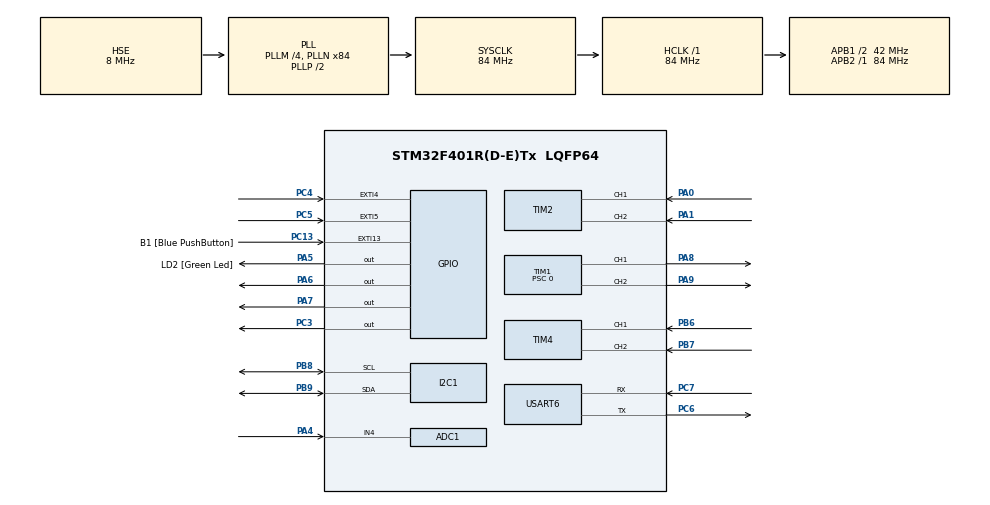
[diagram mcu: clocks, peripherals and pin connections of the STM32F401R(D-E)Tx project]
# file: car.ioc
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ADC1.Channel-4\#ChannelRegularConversion=ADC_CHANNEL_4
ADC1.NbrOfConversion=1
ADC1.NbrOfConversionFlag=1
ADC1.Rank-4\#ChannelRegularConversion=1
ADC1.SamplingTime-4\#ChannelRegularConversion=ADC_SAMPLETIME_15CYCLES
ADC1.master=1
Dma.I2C1_TX.0.Direction=DMA_MEMORY_TO_PERIPH
Dma.I2C1_TX.0.FIFOMode=DMA_FIFOMODE_DISABLE
Dma.I2C1_TX.0.Instance=DMA1_Stream6
Dma.I2C1_TX.0.MemDataAlignment=DMA_MDATAALIGN_BYTE
Dma.I2C1_TX.0.MemInc=DMA_MINC_ENABLE
Dma.I2C1_TX.0.Mode=DMA_NORMAL
Dma.I2C1_TX.0.PeriphDataAlignment=DMA_PDATAALIGN_BYTE
Dma.I2C1_TX.0.PeriphInc=DMA_PINC_DISABLE
Dma.I2C1_TX.0.Priority=DMA_PRIORITY_LOW
Dma.Request0=I2C1_TX
FREERTOS.Tasks01=defaultTask,24,512,StartDefaultTask,Default,NULL,Dynamic,NULL,NULL;myTaskOled,24,512,StartTaskOled,Default,NULL,Dynamic,NULL,NULL;myTaskCtrl,32,1500,StartTaskCtrl,Default,NULL,Dynamic,NULL,NULL
FREERTOS.configUSE_NEWLIB_REENTRANT=1
I2C1.I2C_Mode=I2C_Fast
Mcu.Family=STM32F4
Mcu.Name=STM32F401R(D-E)Tx
Mcu.Package=LQFP64
NVIC.ADC_IRQn=true\:5\:0\:false\:false\:true\:true\:true\:true\:true
NVIC.DMA1_Stream6_IRQn=true\:5\:0\:false\:false\:true\:true\:false\:true\:true
NVIC.EXTI4_IRQn=true\:5\:0\:false\:false\:true\:true\:true\:true\:true
NVIC.EXTI9_5_IRQn=true\:5\:0\:false\:false\:true\:true\:true\:true\:true
NVIC.I2C1_EV_IRQn=true\:5\:0\:false\:false\:true\:true\:true\:true\:true
NVIC.PriorityGroup=NVIC_PRIORITYGROUP_4
NVIC.TIM1_TRG_COM_TIM11_IRQn=true\:5\:0\:false\:false\:true\:false\:false\:true\:true
NVIC.TIM1_UP_TIM10_IRQn=true\:15\:0\:false\:false\:true\:false\:false\:true\:true
NVIC.TimeBase=TIM1_UP_TIM10_IRQn
NVIC.TimeBaseIP=TIM10
NVIC.USART6_IRQn=true\:5\:0\:false\:false\:true\:true\:true\:true\:true
PA0-WKUP.Signal=S_TIM2_CH1_ETR
PA1.Signal=S_TIM2_CH2
PA13.Mode=Trace_Asynchronous_SW
PA13.Signal=SYS_JTMS-SWDIO
PA14.Mode=Trace_Asynchronous_SW
PA14.Signal=SYS_JTCK-SWCLK
PA4.Signal=ADCx_IN4
PA5.GPIO_Label=LD2 [Green Led]
PA5.GPIO_Mode=GPIO_MODE_OUTPUT_PP
PA5.GPIO_PuPd=GPIO_NOPULL
PA5.GPIO_Speed=GPIO_SPEED_FREQ_LOW
PA5.Signal=GPIO_Output
PA6.GPIO_ModeDefaultOutputPP=GPIO_MODE_OUTPUT_OD
PA6.GPIO_PuPd=GPIO_PULLUP
PA6.Signal=GPIO_Output
PA7.GPIO_ModeDefaultOutputPP=GPIO_MODE_OUTPUT_OD
PA7.GPIO_PuPd=GPIO_PULLUP
PA7.Signal=GPIO_Output
PA8.Signal=S_TIM1_CH1
PA9.Signal=S_TIM1_CH2
PB13.Signal=TIM1_CH1N
PB14.Signal=TIM1_CH2N
PB3.Mode=Trace_Asynchronous_SW
PB3.Signal=SYS_JTDO-SWO
PB6.Signal=S_TIM4_CH1
PB7.Signal=S_TIM4_CH2
PB8.Mode=I2C
PB8.Signal=I2C1_SCL
PB9.Mode=I2C
PB9.Signal=I2C1_SDA
PC13-ANTI_TAMP.GPIO_Label=B1 [Blue PushButton]
PC13-ANTI_TAMP.GPIO_ModeDefaultEXTI=GPIO_MODE_IT_FALLING
PC13-ANTI_TAMP.GPIO_PuPd=GPIO_NOPULL
PC13-ANTI_TAMP.Signal=GPXTI13
PC14-OSC32_IN.Mode=LSE-External-Oscillator
PC14-OSC32_IN.Signal=RCC_OSC32_IN
PC15-OSC32_OUT.Mode=LSE-External-Oscillator
PC15-OSC32_OUT.Signal=RCC_OSC32_OUT
PC3.GPIO_PuPd=GPIO_PULLUP
PC3.Signal=GPIO_Output
PC4.GPIO_ModeDefaultEXTI=GPIO_MODE_IT_RISING_FALLING
PC4.GPIO_PuPd=GPIO_PULLUP
PC4.Signal=GPXTI4
PC5.GPIO_ModeDefaultEXTI=GPIO_MODE_IT_FALLING
PC5.Signal=GPXTI5
PC6.Mode=Asynchronous
PC6.Signal=USART6_TX
PC7.Mode=Asynchronous
PC7.Signal=USART6_RX
PH0\ -\ OSC_IN.Mode=HSE-External-Oscillator
PH0\ -\ OSC_IN.Signal=RCC_OSC_IN
PH1\ -\ OSC_OUT.Mode=HSE-External-Oscillator
PH1\ -\ OSC_OUT.Signal=RCC_OSC_OUT
ProjectManager.HeapSize=0x200
ProjectManager.StackSize=0x400
ProjectManager.TargetToolchain=STM32CubeIDE
RCC.48MHZClocksFreq_Value=42000000
RCC.AHBFreq_Value=84000000
RCC.APB1CLKDivider=RCC_HCLK_DIV2
RCC.APB1Freq_Value=42000000
RCC.APB1TimFreq_Value=84000000
RCC.APB2Freq_Value=84000000
RCC.APB2TimFreq_Value=84000000
RCC.CortexFreq_Value=84000000
RCC.HCLKFreq_Value=84000000
RCC.HSE_VALUE=8000000
RCC.HSI_VALUE=16000000
RCC.PLLM=4
RCC.PLLN=84
RCC.PLLSourceVirtual=RCC_PLLSOURCE_HSE
RCC.SYSCLKFreq_VALUE=84000000
RCC.SYSCLKSource=RCC_SYSCLKSOURCE_PLLCLK
RCC.VCOOutputFreq_Value=168000000
SH.ADCx_IN4.0=ADC1_IN4,IN4
SH.S_TIM1_CH1.0=TIM1_CH1,PWM Generation1 CH1
SH.S_TIM1_CH2.0=TIM1_CH2,PWM Generation2 CH2
SH.S_TIM2_CH1_ETR.0=TIM2_CH1,Encoder_Interface
SH.S_TIM2_CH2.0=TIM2_CH2,Encoder_Interface
SH.S_TIM4_CH1.0=TIM4_CH1,Encoder_Interface
SH.S_TIM4_CH2.0=TIM4_CH2,Encoder_Interface
TIM1.Channel-PWM\ Generation1\ CH1=TIM_CHANNEL_1
TIM1.Channel-PWM\ Generation2\ CH2=TIM_CHANNEL_2
TIM1.Period=8399
TIM1.Prescaler=0
TIM2.EncoderMode=TIM_ENCODERMODE_TI1
TIM3.Prescaler=83
TIM4.EncoderMode=TIM_ENCODERMODE_TI1
TIM5.Prescaler=83
USART6.VirtualMode=VM_ASYNC
VP_FREERTOS_VS_CMSIS_V2.Mode=CMSIS_V2
VP_SYS_VS_tim10.Mode=TIM10
VP_TIM3_VS_ClockSourceINT.Mode=Internal
VP_TIM5_VS_ClockSourceINT.Mode=Internal
VP_TIM9_VS_ClockSourceINT.Mode=Internal
board=NUCLEO-F401RE

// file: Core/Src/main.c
/* USER CODE BEGIN Header */
/**
  ******************************************************************************
  * @file           : main.c
  * @brief          : Main program body
  ******************************************************************************
  * @attention
  *
  * Copyright (c) 2025 STMicroelectronics.
  * All rights reserved.
  *
  * This software is licensed under terms that can be found in the LICENSE file
  * in the root directory of this software component.
  * If no LICENSE file comes with this software, it is provided AS-IS.
  *
  ******************************************************************************
  */
/* USER CODE END Header */
#include "main.h"
#include "cmsis_os.h"
#include "adc.h"
#include "dma.h"
#include "i2c.h"
#include "tim.h"
#include "usart.h"
#include "gpio.h"

/* USER CODE BEGIN Includes */
#include "stdio.h"
#include "oled.h"
#include "motor.h"
#include "encoder.h"
#include "pid.h"
#include "inv_mpu.h"
#include "inv_mpu_dmp_motion_driver.h"

/* USER CODE END Includes */

/* USER CODE BEGIN PV */

int motor_en = 1;		//电机使能
int stop_key = 0;

//pid参数
float Vertical_Kp= 740,Vertical_Kd =5 ;
float Velocity_Kp = -3,Velocity_Ki;
float Turn_Kp = 10,Turn_Kd = -4;

extern uint8_t refresh_flag;
extern uint8_t show_mem[OLED_WIDE][OLED_LENGTH];
extern uint8_t display_buf[30];

extern float distance;

extern uint8_t rx_buf[2];

/* USER CODE END PV */

void SystemClock_Config(void);
void MX_FREERTOS_Init(void);

/* USER CODE BEGIN 0 */

int __io_putchar(int ch)
{
ITM_SendChar(ch);
return(ch);
}

int _write(int file, char *ptr, int len)
{
int DataIdx;
for (DataIdx = 0; DataIdx < len; DataIdx++){ __io_putchar( *ptr++ );}
return len;
}

void HAL_I2C_MemTxCpltCallback(I2C_HandleTypeDef *hi2c)
{
	uint8_t i,j;
	for(i = 0; i < OLED_WIDE; i++)
	{
		for(j = 0; j < OLED_LENGTH; j++)
		{
			show_mem[i][j] = 0;
		}
	}
	refresh_flag = 0;
}

//微妙延时
void delay_us(uint32_t us) {
    __HAL_TIM_SET_COUNTER(&htim5, 0);
    __HAL_TIM_ENABLE(&htim5);
    while (__HAL_TIM_GET_COUNTER(&htim5) < us);

    __HAL_TIM_DISABLE(&htim5);
}

uint16_t count;	//定时器计数
float distance; //超声波测距距离

void HAL_GPIO_EXTI_Callback(uint16_t GPIO_Pin)
{

	if(GPIO_Pin==GPIO_PIN_4)
		{
			if(HAL_GPIO_ReadPin(GPIOC,GPIO_PIN_4)==GPIO_PIN_SET)
			{
				__HAL_TIM_SetCounter(&htim3,0);
				HAL_TIM_Base_Start(&htim3);
			}
			else
			{
				HAL_TIM_Base_Stop(&htim3);
				count=__HAL_TIM_GetCounter(&htim3);
				distance=count*0.017;
			}
			__HAL_GPIO_EXTI_CLEAR_IT(GPIO_PIN_4);
		}

	if(GPIO_Pin==GPIO_PIN_5)
	{
		if(HAL_GPIO_ReadPin(GPIOC,GPIO_PIN_5)==GPIO_PIN_RESET)
		{
			stop_key ^= 1;		//急停按键标志位取反
		}
		 __HAL_GPIO_EXTI_CLEAR_IT(GPIO_PIN_5);
	}
}

int res;

/* USER CODE END 0 */

int main(void)
{

  /* MCU Configuration--------------------------------------------------------*/

  /* Reset of all peripherals, Initializes the Flash interface and the Systick. */
  HAL_Init();

  /* Configure the system clock */
  SystemClock_Config();

  /* Initialize all configured peripherals */
  MX_GPIO_Init();
  MX_DMA_Init();
  MX_USART6_UART_Init();
  MX_I2C1_Init();
  MX_TIM1_Init();
  MX_TIM2_Init();
  MX_TIM4_Init();
  MX_TIM3_Init();
  MX_ADC1_Init();
  MX_TIM9_Init();
  MX_TIM5_Init();
  /* USER CODE BEGIN 2 */
  Load(0, 0);

  /* 初始化OLED显示屏 */
  OLED_Init();
  /* 初始化MPU6500惯性测量单元 */
  MPU_Init();
  /* 初始化MPU6500的数字运动处理器(DMP)，并获取初始化结果 */
  res = mpu_dmp_init();

  /* 清屏OLED显示 */
  OLED_Clear();

  /* 启动TIM2的编码器模式，使用所有通道（通常为CH1和CH2） */
  HAL_TIM_Encoder_Start(&htim2, TIM_CHANNEL_ALL);
  /* 启动TIM4的编码器模式，使用所有通道 */
  HAL_TIM_Encoder_Start(&htim4, TIM_CHANNEL_ALL);
  /* 启动UART6的中断接收模式，每次接收1字节数据到rx_buf缓冲区 */
  HAL_UART_Receive_IT(&huart6, rx_buf, 1);

  /* USER CODE END 2 */

  /* Init scheduler */
  osKernelInitialize();

  /* Call init function for freertos objects (in cmsis_os2.c) */
  MX_FREERTOS_Init();

  /* Start scheduler */
  osKernelStart();

  /* We should never get here as control is now taken by the scheduler */

  /* Infinite loop */
  while (1)
  {

  }
}

void SystemClock_Config(void)
{
  RCC_OscInitTypeDef RCC_OscInitStruct = {0};
  RCC_ClkInitTypeDef RCC_ClkInitStruct = {0};

  /** Configure the main internal regulator output voltage
  */
  __HAL_RCC_PWR_CLK_ENABLE();
  __HAL_PWR_VOLTAGESCALING_CONFIG(PWR_REGULATOR_VOLTAGE_SCALE2);

  /** Initializes the RCC Oscillators according to the specified parameters
  * in the RCC_OscInitTypeDef structure.
  */
  RCC_OscInitStruct.OscillatorType = RCC_OSCILLATORTYPE_HSE;
  RCC_OscInitStruct.HSEState = RCC_HSE_ON;
  RCC_OscInitStruct.PLL.PLLState = RCC_PLL_ON;
  RCC_OscInitStruct.PLL.PLLSource = RCC_PLLSOURCE_HSE;
  RCC_OscInitStruct.PLL.PLLM = 4;
  RCC_OscInitStruct.PLL.PLLN = 84;
  RCC_OscInitStruct.PLL.PLLP = RCC_PLLP_DIV2;
  RCC_OscInitStruct.PLL.PLLQ = 4;
  if (HAL_RCC_OscConfig(&RCC_OscInitStruct) != HAL_OK)
  {
    Error_Handler();
  }

  /** Initializes the CPU, AHB and APB buses clocks
  */
  RCC_ClkInitStruct.ClockType = RCC_CLOCKTYPE_HCLK|RCC_CLOCKTYPE_SYSCLK
                              |RCC_CLOCKTYPE_PCLK1|RCC_CLOCKTYPE_PCLK2;
  RCC_ClkInitStruct.SYSCLKSource = RCC_SYSCLKSOURCE_PLLCLK;
  RCC_ClkInitStruct.AHBCLKDivider = RCC_SYSCLK_DIV1;
  RCC_ClkInitStruct.APB1CLKDivider = RCC_HCLK_DIV2;
  RCC_ClkInitStruct.APB2CLKDivider = RCC_HCLK_DIV1;

  if (HAL_RCC_ClockConfig(&RCC_ClkInitStruct, FLASH_LATENCY_2) != HAL_OK)
  {
    Error_Handler();
  }
}

void HAL_TIM_PeriodElapsedCallback(TIM_HandleTypeDef *htim)
{
  if (htim->Instance == TIM10)
  {
    HAL_IncTick();
  }
}

void Error_Handler(void)
{
  __disable_irq();
  while (1)
  {
  }
}

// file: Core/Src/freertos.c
/* USER CODE BEGIN Header */
/**
  ******************************************************************************
  * File Name          : freertos.c
  * Description        : Code for freertos applications
  ******************************************************************************
  * @attention
  *
  * Copyright (c) 2025 STMicroelectronics.
  * All rights reserved.
  *
  * This software is licensed under terms that can be found in the LICENSE file
  * in the root directory of this software component.
  * If no LICENSE file comes with this software, it is provided AS-IS.
  *
  ******************************************************************************
  */
/* USER CODE END Header */

#include "FreeRTOS.h"
#include "task.h"
#include "main.h"
#include "cmsis_os.h"

/* USER CODE BEGIN Includes */
#include "stdio.h"
#include "oled.h"
#include "motor.h"
#include "encoder.h"
#include "pid.h"
#include "inv_mpu.h"
#include "inv_mpu_dmp_motion_driver.h"
#include "sr04.h"

/* USER CODE END Includes */

/* USER CODE BEGIN Variables */

uint8_t display_buf[30];  //显示缓冲区，存放字符串，写入show_mem

int mode;				//控制模式（mode=1 遥控模式，mode=0;自平衡模式)
extern int stop_key;	//紧急停止按键，控制函数失效，小车制动

extern uint8_t show_mem[OLED_WIDE][OLED_LENGTH];	//显示缓冲区，存放发送到屏幕寄存器的数据

extern int Encoder_Left,Encoder_Right;	//左右编码器速度

extern float distance;		//超声波测距距离
extern uint8_t rx_buf[2];	//蓝牙接收缓冲区

extern float pitch,roll,yaw; //欧拉角

int adc;

extern ADC_HandleTypeDef hadc1;
extern TIM_HandleTypeDef htim5;

/* USER CODE END Variables */
/* Definitions for defaultTask */
osThreadId_t defaultTaskHandle;
const osThreadAttr_t defaultTask_attributes = {
  .name = "defaultTask",
  .stack_size = 512 * 4,
  .priority = (osPriority_t) osPriorityNormal,
};
/* Definitions for myTaskOled */
osThreadId_t myTaskOledHandle;
const osThreadAttr_t myTaskOled_attributes = {
  .name = "myTaskOled",
  .stack_size = 512 * 4,
  .priority = (osPriority_t) osPriorityNormal,
};
/* Definitions for myTaskCtrl */
osThreadId_t myTaskCtrlHandle;
const osThreadAttr_t myTaskCtrl_attributes = {
  .name = "myTaskCtrl",
  .stack_size = 1500 * 4,
  .priority = (osPriority_t) osPriorityAboveNormal,
};

void StartDefaultTask(void *argument);
void StartTaskOled(void *argument);
void StartTaskCtrl(void *argument);

void MX_FREERTOS_Init(void); /* (MISRA C 2004 rule 8.1) */

void MX_FREERTOS_Init(void) {

  /* Create the thread(s) */
  /* creation of defaultTask */
  defaultTaskHandle = osThreadNew(StartDefaultTask, NULL, &defaultTask_attributes);

  /* creation of myTaskOled */
  myTaskOledHandle = osThreadNew(StartTaskOled, NULL, &myTaskOled_attributes);

  /* creation of myTaskCtrl */
  myTaskCtrlHandle = osThreadNew(StartTaskCtrl, NULL, &myTaskCtrl_attributes);

}

void StartDefaultTask(void *argument)
{
  /* USER CODE BEGIN StartDefaultTask */
  /* Infinite loop */
  for(;;)
  {
	  /* 获取超声波测距数据 */
	 GET_Distance();
	 /* 启动ADC1转换，用于读取模式选择电位器值 */
	  HAL_ADC_Start(&hadc1);
	  /* 轮询ADC转换结果（超时100ms） */
	  if (HAL_ADC_PollForConversion(&hadc1, 100) == HAL_OK) {
		  adc = HAL_ADC_GetValue(&hadc1);
		  /* 根据ADC值切换控制模式（阈值2000） */
		  if (adc < 2000) {
			  mode = 0; // 自平衡模式
		  } else {
			  mode = 1; // 遥控模式
		  }
	  }
	 vTaskDelay(pdMS_TO_TICKS(10));
  }
  /* USER CODE END StartDefaultTask */
}

void StartTaskOled(void *argument)
{
  /* USER CODE BEGIN StartTaskOled */
  /* Infinite loop */
  for(;;)
  {

	  /* 显示左右编码器计数值（电机转速反馈） */
	  sprintf((char *)display_buf, "L:%d  R:%d   ", Encoder_Left, Encoder_Right);
	  OLED_ShowString(0, 0, display_buf, 16, 0);
	  /* 显示姿态角：横滚角(roll) */
	  sprintf((char *)display_buf, "roll:%.1f   ", roll);
	  OLED_ShowString(0, 2, display_buf, 16, 0);
	  /* 显示姿态角：偏航角(yaw) */
	  sprintf((char *)display_buf, "yaw:%.1f   ", yaw);
	  OLED_ShowString(0, 4, display_buf, 16, 0);
	  /* 显示超声波测量距离 */
	  sprintf((char *)display_buf, "dist:%.1f   ", distance);
	  OLED_ShowString(0, 6, display_buf, 16, 0);
	  /* 更新OLED显示内容 */
	  OLED_Refresh();
	  /* 任务延时50ms，控制刷新频率 */
	  vTaskDelay(pdMS_TO_TICKS(50));
  }
  /* USER CODE END StartTaskOled */
}

void StartTaskCtrl(void *argument)
{
  /* USER CODE BEGIN StartTaskCtrl */
  /* Infinite loop */
  for(;;)
  {
	  if(stop_key == 0){
		  Control();
	  }else{
		  Load(0, 0);
	  }
	  vTaskDelay(pdMS_TO_TICKS(1));//延时1ms，控制函数执行频率1KHZ
  }

  /* USER CODE END StartTaskCtrl */
}
